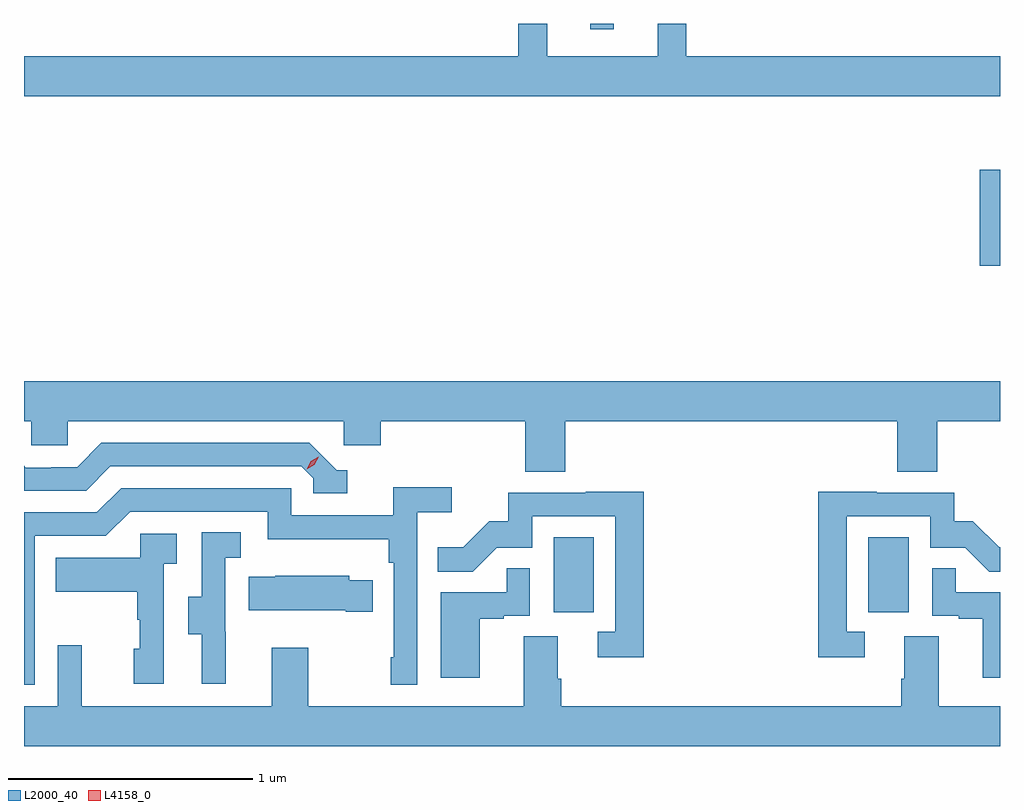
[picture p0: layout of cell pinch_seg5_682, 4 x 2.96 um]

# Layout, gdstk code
import gdstk
lib = gdstk.Library(unit=1e-6, precision=1e-09)
def R(c, l, rs):  # rectangles x0, y0, x1, y1
    for r in rs: c.add(gdstk.rectangle(r[:2], r[2:], *l))
def P(c, l, *ps):  # polygons
    for p in ps: c.add(gdstk.Polygon(p, *l))
L2000_40 = (2000, 40)
L4158_0 = (4158, 0)

pinch_seg5_682 = lib.new_cell('pinch_seg5_682')
R(pinch_seg5_682, L2000_40, [(1095.542,849.318,1095.706,849.625), (1096.832,849.318,1096.996,849.625), (1097.288,850.737,1097.371,851.131), (1095.692,851.706,1095.789,851.729)])
P(pinch_seg5_682, L2000_40, [(1097.371,851.596),(1096.085,851.596),(1096.085,851.729),(1095.968,851.729),(1095.968,851.596),(1095.515,851.596),(1095.515,851.729),(1095.397,851.729),(1095.397,851.596),(1093.371,851.596),(1093.371,851.432),(1097.371,851.432)],
  [(1095.59,850.1),(1096.949,850.1),(1096.949,849.892),(1097.114,849.892),(1097.114,850.1),(1097.371,850.1),(1097.371,850.264),(1093.371,850.264),(1093.371,850.1),(1093.401,850.1),(1093.401,850.002),(1093.551,850.002),(1093.551,850.1),(1094.682,850.1),(1094.682,850.002),(1094.834,850.002),(1094.834,850.1),(1095.425,850.1),(1095.425,849.892),(1095.59,849.892)],
  [(1094.695,849.9),(1094.652,849.9),(1094.541,850.011),(1093.688,850.011),(1093.589,849.912),(1093.482,849.912),(1093.482,849.909),(1093.379,849.909),(1093.371,849.917),(1093.371,849.816),(1093.626,849.816),(1093.725,849.915),(1094.508,849.915),(1094.556,849.867),(1094.556,849.804),(1094.695,849.804)],
  [(1093.416,849.63),(1093.707,849.63),(1093.806,849.729),(1094.37,849.729),(1094.37,849.617),(1094.866,849.617),(1094.866,849.521),(1094.886,849.521),(1094.886,849.133),(1094.874,849.133),(1094.874,849.021),(1094.982,849.021),(1094.982,849.728),(1095.124,849.728),(1095.124,849.83),(1094.885,849.83),(1094.885,849.714),(1094.466,849.714),(1094.466,849.825),(1093.769,849.825),(1093.67,849.726),(1093.371,849.726),(1093.371,849.021),(1093.416,849.021)],
  [(1095.911,849.812),(1095.673,849.812),(1095.673,849.807),(1095.355,849.807),(1095.355,849.69),(1095.278,849.69),(1095.171,849.583),(1095.067,849.583),(1095.067,849.484),(1095.211,849.484),(1095.309,849.582),(1095.453,849.582),(1095.453,849.711),(1095.795,849.711),(1095.795,849.237),(1095.723,849.237),(1095.723,849.132),(1095.911,849.132)],
  [(1096.816,849.237),(1096.743,849.237),(1096.743,849.711),(1097.085,849.711),(1097.085,849.582),(1097.229,849.582),(1097.327,849.484),(1097.371,849.484),(1097.371,849.583),(1097.367,849.583),(1097.26,849.69),(1097.184,849.69),(1097.184,849.807),(1096.865,849.807),(1096.865,849.812),(1096.627,849.812),(1096.627,849.132),(1096.816,849.132)],
  [(1094.198,849.237),(1094.196,849.237),(1094.196,849.541),(1094.26,849.541),(1094.26,849.644),(1094.1,849.644),(1094.1,849.381),(1094.045,849.381),(1094.045,849.226),(1094.099,849.226),(1094.099,849.024),(1094.198,849.024)],
  [(1093.944,849.515),(1093.996,849.515),(1093.996,849.639),(1093.848,849.639),(1093.848,849.541),(1093.501,849.541),(1093.501,849.401),(1093.836,849.401),(1093.836,849.287),(1093.846,849.287),(1093.846,849.168),(1093.82,849.168),(1093.82,849.024),(1093.944,849.024)],
  [(1095.238,849.291),(1095.338,849.291),(1095.338,849.303),(1095.444,849.303),(1095.444,849.497),(1095.349,849.497),(1095.349,849.399),(1095.08,849.399),(1095.08,849.048),(1095.238,849.048)],
  [(1097.371,849.399),(1097.189,849.399),(1097.189,849.497),(1097.094,849.497),(1097.094,849.303),(1097.201,849.303),(1097.201,849.291),(1097.3,849.291),(1097.3,849.048),(1097.371,849.048)],
  [(1094.801,849.448),(1094.703,849.448),(1094.703,849.466),(1094.401,849.466),(1094.401,849.463),(1094.293,849.463),(1094.293,849.326),(1094.69,849.326),(1094.69,849.319),(1094.801,849.319)],
  [(1097.371,848.932),(1097.119,848.932),(1097.119,849.218),(1096.979,849.218),(1096.979,849.044),(1096.967,849.044),(1096.967,848.932),(1095.572,848.932),(1095.572,849.044),(1095.559,849.044),(1095.559,849.218),(1095.419,849.218),(1095.419,848.932),(1094.535,848.932),(1094.535,849.172),(1094.387,849.172),(1094.387,848.932),(1093.607,848.932),(1093.607,849.181),(1093.509,849.181),(1093.509,848.932),(1093.371,848.932),(1093.371,848.768),(1097.371,848.768)])
P(pinch_seg5_682, L4158_0, [(1094.53,849.903),(1094.53,849.903),(1094.547,849.935),(1094.578,849.954),(1094.578,849.954),(1094.578,849.954),(1094.561,849.921),(1094.53,849.903)])

lib.write_gds('pinch_seg5_682.gds')
